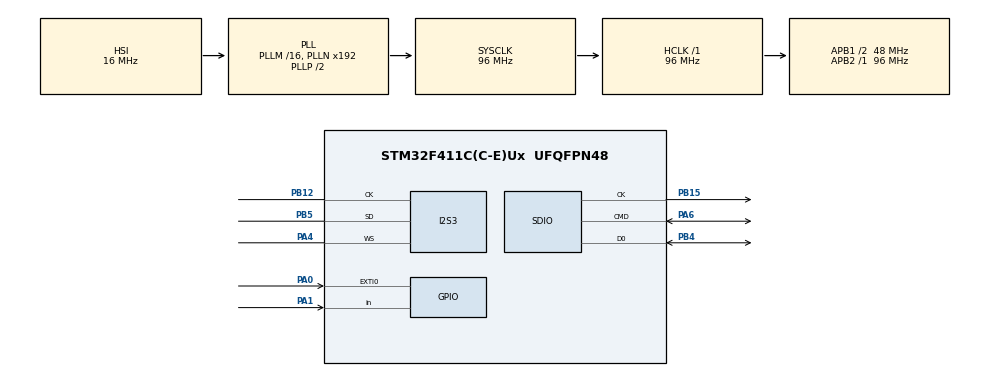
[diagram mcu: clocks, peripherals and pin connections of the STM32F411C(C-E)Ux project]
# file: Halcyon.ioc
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Dma.Request0=SPI3_TX
Dma.Request1=SDIO
Dma.SDIO.1.Direction=DMA_PERIPH_TO_MEMORY
Dma.SDIO.1.FIFOMode=DMA_FIFOMODE_ENABLE
Dma.SDIO.1.FIFOThreshold=DMA_FIFO_THRESHOLD_FULL
Dma.SDIO.1.Instance=DMA2_Stream3
Dma.SDIO.1.MemBurst=DMA_MBURST_INC4
Dma.SDIO.1.MemDataAlignment=DMA_MDATAALIGN_WORD
Dma.SDIO.1.MemInc=DMA_MINC_ENABLE
Dma.SDIO.1.Mode=DMA_PFCTRL
Dma.SDIO.1.PeriphBurst=DMA_PBURST_INC4
Dma.SDIO.1.PeriphDataAlignment=DMA_PDATAALIGN_WORD
Dma.SDIO.1.PeriphInc=DMA_PINC_DISABLE
Dma.SDIO.1.Priority=DMA_PRIORITY_LOW
Dma.SPI3_TX.0.Direction=DMA_MEMORY_TO_PERIPH
Dma.SPI3_TX.0.FIFOMode=DMA_FIFOMODE_DISABLE
Dma.SPI3_TX.0.Instance=DMA1_Stream5
Dma.SPI3_TX.0.MemDataAlignment=DMA_MDATAALIGN_HALFWORD
Dma.SPI3_TX.0.MemInc=DMA_MINC_ENABLE
Dma.SPI3_TX.0.Mode=DMA_CIRCULAR
Dma.SPI3_TX.0.PeriphDataAlignment=DMA_PDATAALIGN_HALFWORD
Dma.SPI3_TX.0.PeriphInc=DMA_PINC_DISABLE
Dma.SPI3_TX.0.Priority=DMA_PRIORITY_HIGH
FATFS.BSP.number=1
FATFS.USE_DMA_CODE_SD=1
FATFS._USE_LFN=3
FATFS0.BSP.STBoard=false
FATFS0.BSP.api=Unknown
FATFS0.BSP.instance=PA1
FATFS0.BSP.ip=GPIO
FATFS0.BSP.mode=Input
FATFS0.BSP.name=Detect_SDIO
FATFS0.BSP.solution=PA1
I2S3.AudioFreq=I2S_AUDIOFREQ_44K
I2S3.ErrorAudioFreq=0.22 %
I2S3.FullDuplexMode=I2S_FULLDUPLEXMODE_DISABLE
I2S3.Instance=SPI$Index
I2S3.RealAudioFreq=44.099 KHz
I2S3.VirtualMode=I2S_MODE_MASTER
Mcu.Family=STM32F4
Mcu.Name=STM32F411C(C-E)Ux
Mcu.Package=UFQFPN48
NVIC.DMA1_Stream5_IRQn=true\:0\:0\:false\:false\:true\:false\:true\:true
NVIC.DMA2_Stream3_IRQn=true\:0\:0\:false\:false\:true\:false\:true\:true
NVIC.EXTI0_IRQn=true\:0\:0\:false\:false\:true\:true\:true\:true
NVIC.PriorityGroup=NVIC_PRIORITYGROUP_4
NVIC.SDIO_IRQn=true\:0\:0\:false\:false\:true\:true\:true\:true
PA0-WKUP.GPIO_ModeDefaultEXTI=GPIO_MODE_IT_FALLING
PA0-WKUP.GPIO_PuPd=GPIO_PULLUP
PA0-WKUP.Signal=GPXTI0
PA1.GPIO_PuPd=GPIO_PULLUP
PA1.Signal=GPIO_Input
PA13.Mode=Trace_Asynchronous_SW
PA13.Signal=SYS_JTMS-SWDIO
PA14.Mode=Trace_Asynchronous_SW
PA14.Signal=SYS_JTCK-SWCLK
PA4.Mode=Half_Duplex_Master
PA4.Signal=I2S3_WS
PA6.GPIO_PuPd=GPIO_PULLUP
PA6.Mode=SD_1_bit
PA6.Signal=SDIO_CMD
PB12.Mode=Half_Duplex_Master
PB12.Signal=I2S3_CK
PB15.GPIO_PuPd=GPIO_NOPULL
PB15.Mode=SD_1_bit
PB15.Signal=SDIO_CK
PB3.Mode=Trace_Asynchronous_SW
PB3.Signal=SYS_JTDO-SWO
PB4.GPIO_PuPd=GPIO_PULLUP
PB4.Mode=SD_1_bit
PB4.Signal=SDIO_D0
PB5.Mode=Half_Duplex_Master
PB5.Signal=I2S3_SD
ProjectManager.HeapSize=0x200
ProjectManager.StackSize=0x400
ProjectManager.TargetToolchain=STM32CubeIDE
RCC.48MHZClocksFreq_Value=48000000
RCC.AHBFreq_Value=96000000
RCC.APB1CLKDivider=RCC_HCLK_DIV2
RCC.APB1Freq_Value=48000000
RCC.APB1TimFreq_Value=96000000
RCC.APB2Freq_Value=96000000
RCC.APB2TimFreq_Value=96000000
RCC.CortexFreq_Value=96000000
RCC.HCLKFreq_Value=96000000
RCC.HSE_VALUE=25000000
RCC.HSI_VALUE=16000000
RCC.LSE_VALUE=32768
RCC.PLLI2SM=15
RCC.PLLI2SN=213
RCC.PLLI2SR=7
RCC.SYSCLKFreq_VALUE=96000000
RCC.SYSCLKSource=RCC_SYSCLKSOURCE_PLLCLK
RCC.VCOOutputFreq_Value=192000000
SDIO.HardwareFlowControl=SDIO_HARDWARE_FLOW_CONTROL_ENABLE
VP_FATFS_VS_SDIO.Mode=SDIO
board=custom

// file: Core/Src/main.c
/* USER CODE BEGIN Header */
/**
 ******************************************************************************
 * @file           : main.c
 * @brief          : Main program body
 ******************************************************************************
 * @attention
 *
 * Copyright (c) 2026 STMicroelectronics.
 * All rights reserved.
 *
 * This software is licensed under terms that can be found in the LICENSE file
 * in the root directory of this software component.
 * If no LICENSE file comes with this software, it is provided AS-IS.
 *
 ******************************************************************************
 */
/* USER CODE END Header */
#include "main.h"
#include "fatfs.h"

/* USER CODE BEGIN Includes */
#include <stdio.h>
#include "wav.h"
#include "navigation.h"
#include "player.h"
#include <math.h>
#include <string.h>
#include "lvgl.h"
/* USER CODE END Includes */

I2S_HandleTypeDef hi2s3;
DMA_HandleTypeDef hdma_spi3_tx;

SD_HandleTypeDef hsd;
DMA_HandleTypeDef hdma_sdio;

/* USER CODE BEGIN PV */
static FATFS FatFs;
/* USER CODE END PV */

void SystemClock_Config(void);
static void MX_GPIO_Init(void);
static void MX_DMA_Init(void);
static void MX_SDIO_SD_Init(void);
static void MX_I2S3_Init(void);
/* USER CODE BEGIN PFP */
static void mount_SD(void);
static void SDIO_SDCard_Test(void);
static FRESULT SD_ListDir(const char* path);
static void SD_Format(void);
static void handle_button_events(void);
/* USER CODE END PFP */

/* USER CODE BEGIN 0 */
int _write(int file, char* ptr, int len)
{
    for (int i = 0; i < len; i++)
    {
        ITM_SendChar((uint32_t)ptr[i]);
    }
    return len;
}
/* USER CODE END 0 */

int main(void)
{

    /* MCU Configuration--------------------------------------------------------*/

    /* Reset of all peripherals, Initializes the Flash interface and the Systick. */
    HAL_Init();

    /* Configure the system clock */
    SystemClock_Config();

    /* Initialize all configured peripherals */
    MX_GPIO_Init();
    MX_DMA_Init();
    MX_SDIO_SD_Init();
    MX_FATFS_Init();
    MX_I2S3_Init();
    /* USER CODE BEGIN 2 */
//	printf("Hello, world!\n");
//	SDIO_SDCard_Test();

    // Initialize display
    lv_init();
    lv_tick_set_cb(HAL_GetTick);
    lv_display_t* display = lv_display_create(128, 32);

    static uint8_t buf[(128 * 32) / 8];
    lv_display_set_buffers(display, buf, NULL, sizeof(buf), LV_DISPLAY_RENDER_MODE_PARTIAL);

//    lv_display_set_flush_cb(display, flush_cb);

    mount_SD();
    // Build all music indexes and navigation index
//    {
//        FRESULT fr;
//        fr = index_build();
//        if (fr != FR_OK) Error_Handler();
//    }

    player_init(&hi2s3);
    player_play();
//    audio_play("/MUSIC/The Eagles - Hotel California.wav", &hi2s3);
    /* USER CODE END 2 */

    /* Infinite loop */
    /* USER CODE BEGIN WHILE */
    while (1)
    {
        handle_button_events();
        audio_process();
        __WFI();
        /* USER CODE END WHILE */

    }
}

void SystemClock_Config(void)
{
    RCC_OscInitTypeDef RCC_OscInitStruct =
    { 0 };
    RCC_ClkInitTypeDef RCC_ClkInitStruct =
    { 0 };

    /** Configure the main internal regulator output voltage
     */
    __HAL_RCC_PWR_CLK_ENABLE();
    __HAL_PWR_VOLTAGESCALING_CONFIG(PWR_REGULATOR_VOLTAGE_SCALE1);

    /** Initializes the RCC Oscillators according to the specified parameters
     * in the RCC_OscInitTypeDef structure.
     */
    RCC_OscInitStruct.OscillatorType = RCC_OSCILLATORTYPE_HSI;
    RCC_OscInitStruct.HSIState = RCC_HSI_ON;
    RCC_OscInitStruct.HSICalibrationValue = RCC_HSICALIBRATION_DEFAULT;
    RCC_OscInitStruct.PLL.PLLState = RCC_PLL_ON;
    RCC_OscInitStruct.PLL.PLLSource = RCC_PLLSOURCE_HSI;
    RCC_OscInitStruct.PLL.PLLM = 16;
    RCC_OscInitStruct.PLL.PLLN = 192;
    RCC_OscInitStruct.PLL.PLLP = RCC_PLLP_DIV2;
    RCC_OscInitStruct.PLL.PLLQ = 4;
    if (HAL_RCC_OscConfig(&RCC_OscInitStruct) != HAL_OK)
    {
        Error_Handler();
    }

    /** Initializes the CPU, AHB and APB buses clocks
     */
    RCC_ClkInitStruct.ClockType = RCC_CLOCKTYPE_HCLK | RCC_CLOCKTYPE_SYSCLK | RCC_CLOCKTYPE_PCLK1
            | RCC_CLOCKTYPE_PCLK2;
    RCC_ClkInitStruct.SYSCLKSource = RCC_SYSCLKSOURCE_PLLCLK;
    RCC_ClkInitStruct.AHBCLKDivider = RCC_SYSCLK_DIV1;
    RCC_ClkInitStruct.APB1CLKDivider = RCC_HCLK_DIV2;
    RCC_ClkInitStruct.APB2CLKDivider = RCC_HCLK_DIV1;

    if (HAL_RCC_ClockConfig(&RCC_ClkInitStruct, FLASH_LATENCY_3) != HAL_OK)
    {
        Error_Handler();
    }
}

static void MX_I2S3_Init(void)
{

    hi2s3.Instance = SPI3;
    hi2s3.Init.Mode = I2S_MODE_MASTER_TX;
    hi2s3.Init.Standard = I2S_STANDARD_PHILIPS;
    hi2s3.Init.DataFormat = I2S_DATAFORMAT_16B;
    hi2s3.Init.MCLKOutput = I2S_MCLKOUTPUT_DISABLE;
    hi2s3.Init.AudioFreq = I2S_AUDIOFREQ_44K;
    hi2s3.Init.CPOL = I2S_CPOL_LOW;
    hi2s3.Init.ClockSource = I2S_CLOCK_PLL;
    hi2s3.Init.FullDuplexMode = I2S_FULLDUPLEXMODE_DISABLE;
    if (HAL_I2S_Init(&hi2s3) != HAL_OK)
    {
        Error_Handler();
    }

}

static void MX_SDIO_SD_Init(void)
{

    hsd.Instance = SDIO;
    hsd.Init.ClockEdge = SDIO_CLOCK_EDGE_RISING;
    hsd.Init.ClockBypass = SDIO_CLOCK_BYPASS_DISABLE;
    hsd.Init.ClockPowerSave = SDIO_CLOCK_POWER_SAVE_DISABLE;
    hsd.Init.BusWide = SDIO_BUS_WIDE_1B;
    hsd.Init.HardwareFlowControl = SDIO_HARDWARE_FLOW_CONTROL_ENABLE;
    hsd.Init.ClockDiv = 0;

}

static void MX_DMA_Init(void)
{

    /* DMA controller clock enable */
    __HAL_RCC_DMA1_CLK_ENABLE();
    __HAL_RCC_DMA2_CLK_ENABLE();

    /* DMA interrupt init */
    /* DMA1_Stream5_IRQn interrupt configuration */
    HAL_NVIC_SetPriority(DMA1_Stream5_IRQn, 0, 0);
    HAL_NVIC_EnableIRQ(DMA1_Stream5_IRQn);
    /* DMA2_Stream3_IRQn interrupt configuration */
    HAL_NVIC_SetPriority(DMA2_Stream3_IRQn, 0, 0);
    HAL_NVIC_EnableIRQ(DMA2_Stream3_IRQn);

}

static void MX_GPIO_Init(void)
{
    GPIO_InitTypeDef GPIO_InitStruct =
    { 0 };

    /* GPIO Ports Clock Enable */
    __HAL_RCC_GPIOA_CLK_ENABLE();
    __HAL_RCC_GPIOB_CLK_ENABLE();

    /*Configure GPIO pin : PA0 */
    GPIO_InitStruct.Pin = GPIO_PIN_0;
    GPIO_InitStruct.Mode = GPIO_MODE_IT_FALLING;
    GPIO_InitStruct.Pull = GPIO_PULLUP;
    HAL_GPIO_Init(GPIOA, &GPIO_InitStruct);

    /*Configure GPIO pin : PA1 */
    GPIO_InitStruct.Pin = GPIO_PIN_1;
    GPIO_InitStruct.Mode = GPIO_MODE_INPUT;
    GPIO_InitStruct.Pull = GPIO_PULLUP;
    HAL_GPIO_Init(GPIOA, &GPIO_InitStruct);

    /* EXTI interrupt init*/
    HAL_NVIC_SetPriority(EXTI0_IRQn, 0, 0);
    HAL_NVIC_EnableIRQ(EXTI0_IRQn);

}

/* USER CODE BEGIN 4 */

#define DEBOUNCE_MS 30U
static volatile uint32_t last_next_tick = 0;
static volatile uint32_t last_prev_tick = 0;
static volatile uint8_t next_pressed = 0;
static volatile uint8_t prev_pressed = 0;
void HAL_GPIO_EXTI_Callback(uint16_t pin)
{
    uint32_t now = HAL_GetTick();
    if (pin == GPIO_PIN_1)
    {
        if ((now - last_next_tick) >= DEBOUNCE_MS) next_pressed = 1;
        last_next_tick = now;
    }
//    else if (pin == BTN_PREV_Pin)
//    {
//        if ((now - last_prev_tick) >= DEBOUNCE_MS) prev_pressed = 1;
//        last_prev_tick = now;
//    }
}

static void handle_button_events(void)
{

    if (next_pressed)
    {
        __disable_irq();
        next_pressed = 0;
        __enable_irq();
        player_next_track();

    }

    else if (prev_pressed)
    {
        __disable_irq();
        next_pressed = 0;
        __enable_irq();
        player_prev_track();
    }
}

static void mount_SD(void)
{
    FRESULT fr;
    fr = f_mount(&FatFs, SDPath, 1);
    if (fr != FR_OK)
    {
        printf("Error while Mounting SD Card! Error Code: (%i)\r\n", fr);
        return;
    }
    printf("SD Card Mounted Successfully! \r\n");
}

static void SDIO_SDCard_Test(void)
{
    FRESULT FR_Status;
    FATFS* FS_Ptr;
    DWORD FreeClusters;
    uint32_t TotalSize, FreeSpace;

    do
    {
        FR_Status = f_mount(&FatFs, SDPath, 1);
        if (FR_Status != FR_OK)
        {
            printf("Error while Mounting SD Card! Error Code: (%i)\r\n", FR_Status);
            break;
        }
        printf("SD Card Mounted Successfully! \r\n");

        // Get and print SD card size & free space
        f_getfree("", &FreeClusters, &FS_Ptr);
        TotalSize = (uint32_t)((FS_Ptr->n_fatent - 2) * FS_Ptr->csize * 0.5);
        FreeSpace = (uint32_t)(FreeClusters * FS_Ptr->csize * 0.5);
        printf("Total SD Card Size: %lu KB\n", TotalSize);
        printf("Free SD Card Space: %lu KB\n", FreeSpace);
    } while (0);

    FR_Status = f_mount(NULL, "", 0);
    if (FR_Status != FR_OK) printf("\r\nError! While Un-mounting SD Card, Error Code: (%i)\r\n",
            FR_Status);
    else printf("\r\nSD Card Un-mounted Successfully! \r\n");
}

static FRESULT SD_ListDir(const char* path)
{
    DIR dir;
    FILINFO fno;
    FRESULT fr;

    fr = f_opendir(&dir, path);
    if (fr != FR_OK)
    {
        printf("f_opendir failed: (%i)\r\n", fr);
        return fr;
    }

    printf("Directory listing for \"%s\":\r\n", path);

    while (1)
    {
        fr = f_readdir(&dir, &fno);
        if (fr != FR_OK || fno.fname[0] == 0) break;

        if (fno.fattrib & AM_DIR) printf("  <DIR>  %s\r\n", fno.fname);
        else printf("  %8lu  %s\r\n", (uint32_t)fno.fsize, fno.fname);
    }

    f_closedir(&dir);
    return fr;
}

/* USER CODE END 4 */

void Error_Handler(void)
{
    __disable_irq();
    while (1)
    {
    }
}
